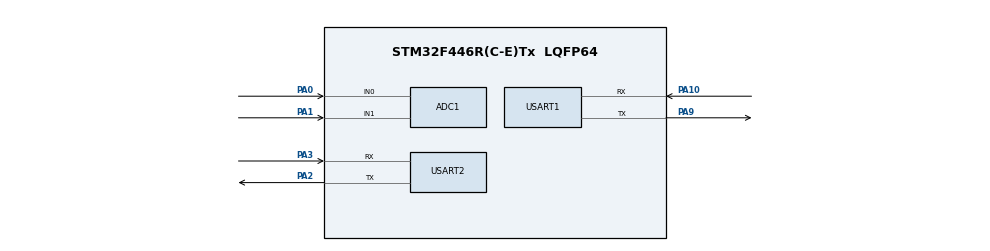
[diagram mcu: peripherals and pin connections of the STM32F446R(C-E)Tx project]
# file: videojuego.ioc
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ADC1.Channel-1\#ChannelRegularConversion=ADC_CHANNEL_0
ADC1.Channel-2\#ChannelRegularConversion=ADC_CHANNEL_1
ADC1.ContinuousConvMode=ENABLE
ADC1.DMAContinuousRequests=ENABLE
ADC1.EOCSelection=ADC_EOC_SEQ_CONV
ADC1.NbrOfConversion=2
ADC1.NbrOfConversionFlag=1
ADC1.Rank-1\#ChannelRegularConversion=1
ADC1.Rank-2\#ChannelRegularConversion=2
ADC1.SamplingTime-1\#ChannelRegularConversion=ADC_SAMPLETIME_480CYCLES
ADC1.SamplingTime-2\#ChannelRegularConversion=ADC_SAMPLETIME_480CYCLES
ADC1.ScanConvMode=ENABLE
ADC1.master=1
Dma.ADC1.0.Direction=DMA_PERIPH_TO_MEMORY
Dma.ADC1.0.FIFOMode=DMA_FIFOMODE_DISABLE
Dma.ADC1.0.Instance=DMA2_Stream4
Dma.ADC1.0.MemDataAlignment=DMA_MDATAALIGN_HALFWORD
Dma.ADC1.0.MemInc=DMA_MINC_ENABLE
Dma.ADC1.0.Mode=DMA_CIRCULAR
Dma.ADC1.0.PeriphDataAlignment=DMA_PDATAALIGN_HALFWORD
Dma.ADC1.0.PeriphInc=DMA_PINC_DISABLE
Dma.ADC1.0.Priority=DMA_PRIORITY_LOW
Dma.Request0=ADC1
Mcu.Family=STM32F4
Mcu.Name=STM32F446R(C-E)Tx
Mcu.Package=LQFP64
NVIC.DMA2_Stream4_IRQn=true\:0\:0\:false\:false\:true\:false\:true\:true
NVIC.PriorityGroup=NVIC_PRIORITYGROUP_4
NVIC.USART1_IRQn=true\:0\:0\:false\:false\:true\:true\:true\:true
PA0-WKUP.Signal=ADCx_IN0
PA1.Signal=ADCx_IN1
PA10.Mode=Asynchronous
PA10.Signal=USART1_RX
PA2.Mode=Asynchronous
PA2.Signal=USART2_TX
PA3.Mode=Asynchronous
PA3.Signal=USART2_RX
PA9.Mode=Asynchronous
PA9.Signal=USART1_TX
ProjectManager.HeapSize=0x200
ProjectManager.StackSize=0x400
ProjectManager.TargetToolchain=STM32CubeIDE
RCC.CortexFreq_Value=16000000
RCC.USBFreq_Value=96000000
RCC.VCOOutputFreq_Value=192000000
SH.ADCx_IN0.0=ADC1_IN0,IN0
SH.ADCx_IN1.0=ADC1_IN1,IN1
USART1.VirtualMode=VM_ASYNC
USART2.VirtualMode=VM_ASYNC
board=custom

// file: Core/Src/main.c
/* USER CODE BEGIN Header */
/**
  ******************************************************************************
  * @file           : main.c
  * @brief          : Main program body
  ******************************************************************************
  * @attention
  *
  * Copyright (c) 2025 STMicroelectronics.
  * All rights reserved.
  *
  * This software is licensed under terms that can be found in the LICENSE file
  * in the root directory of this software component.
  * If no LICENSE file comes with this software, it is provided AS-IS.
  *
  ******************************************************************************
  */
/* USER CODE END Header */
#include "main.h"

/* USER CODE BEGIN Includes */
#include <stdio.h>
/* USER CODE END Includes */

ADC_HandleTypeDef hadc1;
DMA_HandleTypeDef hdma_adc1;

UART_HandleTypeDef huart1;
UART_HandleTypeDef huart2;

/* USER CODE BEGIN PV */
uint16_t valoradc[2];
uint8_t estadoADC = 0;
uint8_t contador = 0;
char variable1, variable2;
uint8_t buffer[1];
uint8_t buffer2[1];
uint8_t numero;
char variable3;
/* USER CODE END PV */

void SystemClock_Config(void);
static void MX_GPIO_Init(void);
static void MX_DMA_Init(void);
static void MX_ADC1_Init(void);
static void MX_USART1_UART_Init(void);
static void MX_USART2_UART_Init(void);

int main(void)
{

  /* MCU Configuration--------------------------------------------------------*/

  /* Reset of all peripherals, Initializes the Flash interface and the Systick. */
  HAL_Init();

  /* Configure the system clock */
  SystemClock_Config();

  /* Initialize all configured peripherals */
  MX_GPIO_Init();
  MX_DMA_Init();
  MX_ADC1_Init();
  MX_USART1_UART_Init();
  MX_USART2_UART_Init();
  /* USER CODE BEGIN 2 */
  HAL_ADC_Start_DMA(&hadc1, (uint32_t *)valoradc, 2);
  uint8_t arriba [] = "arriba\n\r";
  uint8_t abajo [] = "abajo\n\r";
  uint8_t derecha [] = "derecha\n\r";
  uint8_t izquierda [] = "izquierda\n\r";
  uint8_t botona [] = "botonA\n\r";
  uint8_t botonb [] = "botonB\n\r";
  uint8_t jugador1[] = "Control1 (Joystick): ";
  uint8_t jugador2[] = "Control2 (ATMEGA): ";
  HAL_UART_Receive_IT(&huart1, buffer, 1);
  //HAL_DMA_RegisterCallback(&hdma_memtomem_dma2_stream0, HAL_DMA_XFER_CPLT_CB_ID, TransferenciaCompleta);
  //Función No bloqueante
  //HAL_DMA_Start_IT(&hdma_memtomem_dma2_stream0, &fuente, &destino, 3);

  /* USER CODE END 2 */

  /* Infinite loop */
  /* USER CODE BEGIN WHILE */
  while (1)
  {
	  numero = atoi((char*)buffer);  // Casting a char*
	  contador++;
	  HAL_Delay(500);
	  if(estadoADC){
		  estadoADC = 0;
		  HAL_UART_Transmit(&huart2, jugador1, sizeof(jugador1), 1000);
		  if (valoradc[1] > 2045) {
		      variable1 = 'A';
		      HAL_UART_Transmit(&huart2, arriba, sizeof(arriba), 1000);
		  } else if (valoradc[1] < 2045){
		      variable1 = 'B';
		      HAL_UART_Transmit(&huart2, abajo, sizeof(abajo), 1000);
		  }

		  if (valoradc[0] > 2045) {
		      variable1 = 'D';
		      HAL_UART_Transmit(&huart2, derecha, sizeof(derecha), 1000);
		  } else if (valoradc[0] < 2045) {
		      variable1 = 'I';
		      HAL_UART_Transmit(&huart2, izquierda, sizeof(izquierda), 1000);
		  }
	  }
	  numero = atoi((char*)buffer);  // Casting a char*
	  HAL_UART_Transmit(&huart2, jugador2, sizeof(jugador2), 1000);
	  switch(numero){
	  case 0:
		  variable3 = '0';
		  HAL_UART_Transmit(&huart2, arriba, sizeof(arriba), 1000);
		  break;
	  case 1:
		  variable3 = '1';
		  HAL_UART_Transmit(&huart2, abajo, sizeof(abajo), 1000);
		  break;
	  case 2:
		  variable3 = '2';
		  HAL_UART_Transmit(&huart2, derecha, sizeof(derecha), 1000);
		  break;
	  case 3:
		  variable3 = '3';
		  HAL_UART_Transmit(&huart2, izquierda, sizeof(izquierda), 1000);
		  break;
	  case 4:
		  variable3 = '4';
		  HAL_UART_Transmit(&huart2, botona, sizeof(botona), 1000);
		  break;
	  case 5:
		  variable3 = '5';
		  HAL_UART_Transmit(&huart2, botonb, sizeof(botonb), 1000);
		  break;
	  default:
		  break;
	  }
    /* USER CODE END WHILE */

  }
}

void SystemClock_Config(void)
{
  RCC_OscInitTypeDef RCC_OscInitStruct = {0};
  RCC_ClkInitTypeDef RCC_ClkInitStruct = {0};

  /** Configure the main internal regulator output voltage
  */
  __HAL_RCC_PWR_CLK_ENABLE();
  __HAL_PWR_VOLTAGESCALING_CONFIG(PWR_REGULATOR_VOLTAGE_SCALE3);

  /** Initializes the RCC Oscillators according to the specified parameters
  * in the RCC_OscInitTypeDef structure.
  */
  RCC_OscInitStruct.OscillatorType = RCC_OSCILLATORTYPE_HSI;
  RCC_OscInitStruct.HSIState = RCC_HSI_ON;
  RCC_OscInitStruct.HSICalibrationValue = RCC_HSICALIBRATION_DEFAULT;
  RCC_OscInitStruct.PLL.PLLState = RCC_PLL_NONE;
  if (HAL_RCC_OscConfig(&RCC_OscInitStruct) != HAL_OK)
  {
    Error_Handler();
  }

  /** Initializes the CPU, AHB and APB buses clocks
  */
  RCC_ClkInitStruct.ClockType = RCC_CLOCKTYPE_HCLK|RCC_CLOCKTYPE_SYSCLK
                              |RCC_CLOCKTYPE_PCLK1|RCC_CLOCKTYPE_PCLK2;
  RCC_ClkInitStruct.SYSCLKSource = RCC_SYSCLKSOURCE_HSI;
  RCC_ClkInitStruct.AHBCLKDivider = RCC_SYSCLK_DIV1;
  RCC_ClkInitStruct.APB1CLKDivider = RCC_HCLK_DIV1;
  RCC_ClkInitStruct.APB2CLKDivider = RCC_HCLK_DIV1;

  if (HAL_RCC_ClockConfig(&RCC_ClkInitStruct, FLASH_LATENCY_0) != HAL_OK)
  {
    Error_Handler();
  }
}

static void MX_ADC1_Init(void)
{

  ADC_ChannelConfTypeDef sConfig = {0};

  /** Configure the global features of the ADC (Clock, Resolution, Data Alignment and number of conversion)
  */
  hadc1.Instance = ADC1;
  hadc1.Init.ClockPrescaler = ADC_CLOCK_SYNC_PCLK_DIV2;
  hadc1.Init.Resolution = ADC_RESOLUTION_12B;
  hadc1.Init.ScanConvMode = ENABLE;
  hadc1.Init.ContinuousConvMode = ENABLE;
  hadc1.Init.DiscontinuousConvMode = DISABLE;
  hadc1.Init.ExternalTrigConvEdge = ADC_EXTERNALTRIGCONVEDGE_NONE;
  hadc1.Init.ExternalTrigConv = ADC_SOFTWARE_START;
  hadc1.Init.DataAlign = ADC_DATAALIGN_RIGHT;
  hadc1.Init.NbrOfConversion = 2;
  hadc1.Init.DMAContinuousRequests = ENABLE;
  hadc1.Init.EOCSelection = ADC_EOC_SEQ_CONV;
  if (HAL_ADC_Init(&hadc1) != HAL_OK)
  {
    Error_Handler();
  }

  /** Configure for the selected ADC regular channel its corresponding rank in the sequencer and its sample time.
  */
  sConfig.Channel = ADC_CHANNEL_0;
  sConfig.Rank = 1;
  sConfig.SamplingTime = ADC_SAMPLETIME_480CYCLES;
  if (HAL_ADC_ConfigChannel(&hadc1, &sConfig) != HAL_OK)
  {
    Error_Handler();
  }

  /** Configure for the selected ADC regular channel its corresponding rank in the sequencer and its sample time.
  */
  sConfig.Channel = ADC_CHANNEL_1;
  sConfig.Rank = 2;
  if (HAL_ADC_ConfigChannel(&hadc1, &sConfig) != HAL_OK)
  {
    Error_Handler();
  }

}

static void MX_USART1_UART_Init(void)
{

  huart1.Instance = USART1;
  huart1.Init.BaudRate = 115200;
  huart1.Init.WordLength = UART_WORDLENGTH_8B;
  huart1.Init.StopBits = UART_STOPBITS_1;
  huart1.Init.Parity = UART_PARITY_NONE;
  huart1.Init.Mode = UART_MODE_TX_RX;
  huart1.Init.HwFlowCtl = UART_HWCONTROL_NONE;
  huart1.Init.OverSampling = UART_OVERSAMPLING_16;
  if (HAL_UART_Init(&huart1) != HAL_OK)
  {
    Error_Handler();
  }

}

static void MX_USART2_UART_Init(void)
{

  huart2.Instance = USART2;
  huart2.Init.BaudRate = 115200;
  huart2.Init.WordLength = UART_WORDLENGTH_8B;
  huart2.Init.StopBits = UART_STOPBITS_1;
  huart2.Init.Parity = UART_PARITY_NONE;
  huart2.Init.Mode = UART_MODE_TX_RX;
  huart2.Init.HwFlowCtl = UART_HWCONTROL_NONE;
  huart2.Init.OverSampling = UART_OVERSAMPLING_16;
  if (HAL_UART_Init(&huart2) != HAL_OK)
  {
    Error_Handler();
  }

}

static void MX_DMA_Init(void)
{

  /* DMA controller clock enable */
  __HAL_RCC_DMA2_CLK_ENABLE();

  /* DMA interrupt init */
  /* DMA2_Stream4_IRQn interrupt configuration */
  HAL_NVIC_SetPriority(DMA2_Stream4_IRQn, 0, 0);
  HAL_NVIC_EnableIRQ(DMA2_Stream4_IRQn);

}

static void MX_GPIO_Init(void)
{

  /* GPIO Ports Clock Enable */
  __HAL_RCC_GPIOA_CLK_ENABLE();

}

/* USER CODE BEGIN 4 */
void HAL_ADC_ConvCpltCallback(ADC_HandleTypeDef *hadc){
	estadoADC = 1;
}

void HAL_UART_RxCpltCallback(UART_HandleTypeDef *huart){
	HAL_UART_Receive_IT(&huart1, buffer, 1);
}
/* USER CODE END 4 */

/**
  * @brief  This function
  *  is executed in case of error occurrence.
  * @retval None
  */
void Error_Handler(void)
{
  __disable_irq();
  while (1)
  {
  }
}
